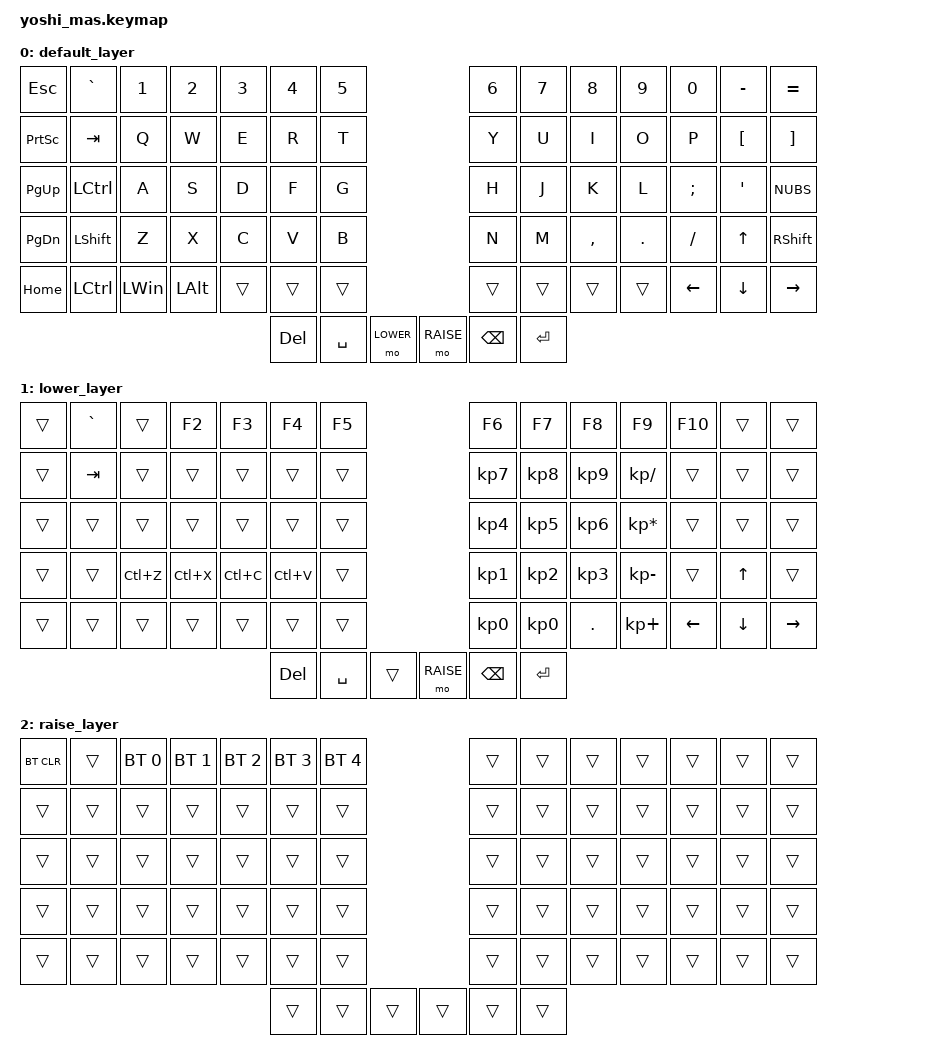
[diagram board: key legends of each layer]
#include <behaviors.dtsi>
#include <dt-bindings/zmk/bt.h>
#include <dt-bindings/zmk/keys.h>
#include <dt-bindings/zmk/ext_power.h>
#include <dt-bindings/zmk/outputs.h>

#define DEFAULT 0
#define LOWER  1
#define RAISE  2

/ {
       keymap {
              compatible = "zmk,keymap";

              default_layer {


                 bindings = <
                     &kp ESC    &kp GRAVE &kp N1      &kp N2    &kp N3     &kp N4     &kp N5                         &kp N6    &kp N7    &kp N8     &kp N9     &kp N0    &kp MINUS    &kp EQUAL   
                     &kp PSCRN  &kp TAB   &kp Q       &kp W     &kp E      &kp R      &kp T                          &kp Y     &kp U     &kp I      &kp O      &kp P     &kp LBKT     &kp RBKT
                     &kp PG_UP  &kp LCTRL &kp A       &kp S     &kp D      &kp F      &kp G                          &kp H     &kp J     &kp K      &kp L      &kp SEMI  &kp APOS     &kp NUBS
                     &kp PG_DN  &kp LSHFT &kp Z       &kp X     &kp C      &kp V      &kp B                          &kp N     &kp M     &kp COMMA  &kp PERIOD &kp SLASH &kp UP       &kp RSHFT
                     &kp HOME   &kp LCTRL &kp LWIN    &kp LALT  &trans     &trans     &trans                         &trans    &trans    &trans     &trans     &kp LEFT  &kp DOWN     &kp RIGHT 
                                                                           &kp DEL    &kp SPACE  &mo LOWER    &mo RAISE &kp BSPC  &kp ENTER
            >;
          };
              lower_layer {
             bindings = <
                     &trans  &kp GRAVE  &trans    &kp F2    &kp F3    &kp F4     &kp F5                         &kp F6    &kp F7    &kp F8     &kp F9             &kp F10   &trans   &trans
                     &trans  &kp TAB    &trans    &trans    &trans    &trans     &trans                         &kp KP_N7 &kp KP_N8 &kp KP_N9  &kp KP_SLASH       &trans    &trans   &trans
                     &trans  &trans     &trans    &trans    &trans    &trans     &trans                         &kp KP_N4 &kp KP_N5 &kp KP_N6  &kp KP_ASTERISK    &trans    &trans   &trans 
                     &trans  &trans     &kp LC(Z) &kp LC(X) &kp LC(C) &kp LC(V)  &trans                         &kp KP_N1 &kp KP_N2 &kp KP_N3  &kp KP_MINUS       &trans    &kp UP   &trans
                     &trans  &trans     &trans    &trans    &trans    &trans     &trans                         &kp KP_N0 &kp KP_N0 &kp PERIOD &kp KP_PLUS        &kp LEFT  &kp DOWN &kp RIGHT
                                                                      &kp DEL    &kp SPACE &trans       &mo RAISE &kp BSPC  &kp ENTER
           >;

         };

              raise_layer {
             bindings = <
                &bt BT_CLR  &trans        &bt BT_SEL 0  &bt BT_SEL 1  &bt BT_SEL 2  &bt BT_SEL 3 &bt BT_SEL 4                     &trans    &trans    &trans     &trans     &trans    &trans   &trans
                &trans      &trans        &trans        &trans        &trans        &trans       &trans                           &trans    &trans    &trans     &trans     &trans    &trans   &trans
                &trans      &trans        &trans        &trans        &trans        &trans       &trans                           &trans    &trans    &trans     &trans     &trans    &trans   &trans 
                &trans      &trans        &trans        &trans        &trans        &trans       &trans                           &trans    &trans    &trans     &trans     &trans    &trans   &trans
                &trans      &trans        &trans        &trans        &trans        &trans       &trans                           &trans    &trans    &trans     &trans     &trans    &trans   &trans
                                                                                    &trans       &trans   &trans        &trans    &trans    &trans
           >;

         };
     };
};
